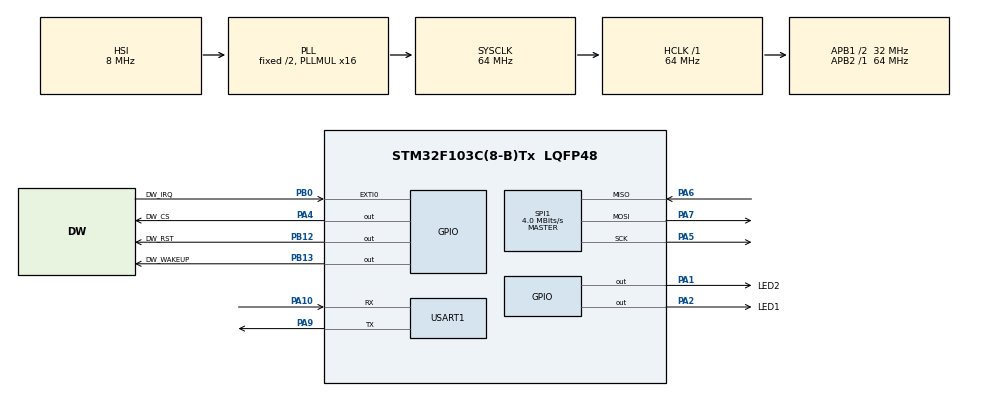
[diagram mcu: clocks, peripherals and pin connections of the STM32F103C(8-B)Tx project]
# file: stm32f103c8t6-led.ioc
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Mcu.Family=STM32F1
Mcu.Name=STM32F103C(8-B)Tx
Mcu.Package=LQFP48
NVIC.PriorityGroup=NVIC_PRIORITYGROUP_4
PA1.GPIO_Label=LED2
PA1.Signal=GPIO_Output
PA10.Mode=Asynchronous
PA10.Signal=USART1_RX
PA13.Mode=Serial_Wire
PA13.Signal=SYS_JTMS-SWDIO
PA14.Mode=Serial_Wire
PA14.Signal=SYS_JTCK-SWCLK
PA2.GPIO_Label=LED1
PA2.Signal=GPIO_Output
PA4.GPIO_Label=DW_CS
PA4.GPIO_Speed=GPIO_SPEED_FREQ_HIGH
PA4.PinState=GPIO_PIN_SET
PA4.Signal=GPIO_Output
PA5.Mode=Full_Duplex_Master
PA5.Signal=SPI1_SCK
PA6.Mode=Full_Duplex_Master
PA6.Signal=SPI1_MISO
PA7.Mode=Full_Duplex_Master
PA7.Signal=SPI1_MOSI
PA9.Mode=Asynchronous
PA9.Signal=USART1_TX
PB0.GPIO_Label=DW_IRQ
PB0.Signal=GPXTI0
PB12.GPIO_Label=DW_RST
PB12.GPIO_PuPd=GPIO_NOPULL
PB12.GPIO_Speed=GPIO_SPEED_FREQ_HIGH
PB12.PinState=GPIO_PIN_SET
PB12.Signal=GPIO_Output
PB13.GPIO_Label=DW_WAKEUP
PB13.GPIO_Speed=GPIO_SPEED_FREQ_HIGH
PB13.Signal=GPIO_Output
PD0-OSC_IN.Mode=HSE-External-Oscillator
PD0-OSC_IN.Signal=RCC_OSC_IN
PD1-OSC_OUT.Mode=HSE-External-Oscillator
PD1-OSC_OUT.Signal=RCC_OSC_OUT
ProjectManager.HeapSize=0x200
ProjectManager.StackSize=0x400
ProjectManager.TargetToolchain=CMake
RCC.AHBFreq_Value=64000000
RCC.APB1CLKDivider=RCC_HCLK_DIV2
RCC.APB1Freq_Value=32000000
RCC.APB1TimFreq_Value=64000000
RCC.APB2Freq_Value=64000000
RCC.APB2TimFreq_Value=64000000
RCC.HCLKFreq_Value=64000000
RCC.PLLMUL=RCC_PLL_MUL16
RCC.SYSCLKFreq_VALUE=64000000
RCC.SYSCLKSource=RCC_SYSCLKSOURCE_PLLCLK
RCC.USBFreq_Value=64000000
SPI1.BaudRatePrescaler=SPI_BAUDRATEPRESCALER_16
SPI1.CalculateBaudRate=4.0 MBits/s
SPI1.Direction=SPI_DIRECTION_2LINES
SPI1.Mode=SPI_MODE_MASTER
SPI1.VirtualType=VM_MASTER
USART1.VirtualMode=VM_ASYNC
board=custom

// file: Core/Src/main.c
/* USER CODE BEGIN Header */
/**
  ******************************************************************************
  * @file           : main.c
  * @brief          : Main program body
  ******************************************************************************
  * @attention
  *
  * Copyright (c) 2026 STMicroelectronics.
  * All rights reserved.
  *
  * This software is licensed under terms that can be found in the LICENSE file
  * in the root directory of this software component.
  * If no LICENSE file comes with this software, it is provided AS-IS.
  *
  ******************************************************************************
  */
/* USER CODE END Header */
#include "main.h"
#include "spi.h"
#include "usart.h"
#include "gpio.h"

/* USER CODE BEGIN Includes */
#include "deca_device_api.h"
#include "deca_regs.h"
#include "port.h"
#include <stdio.h>
#include <string.h>

/* USER CODE END Includes */

/* USER CODE BEGIN PTD */
static dwt_config_t dw1000_test_config = {
  2,
  DWT_PRF_64M,
  DWT_PLEN_1024,
  DWT_PAC32,
  9,
  9,
  1,
  DWT_BR_110K,
  DWT_PHRMODE_STD,
  (1025 + 64 - 32)
};

/* USER CODE END PTD */

/* USER CODE BEGIN PD */
#define FRAME_LEN_MAX 127U
#define RX_FRAME_LEN 12U
#define RX_FRAME_SRC_IDX 2U
#define DATA_FRAME_SN_IDX 2U
#define DATA_FRAME_DEST_IDX 5U

/* USER CODE END PD */

/* USER CODE BEGIN PV */
static volatile uint32_t dw_irq_count = 0;
static uint32_t last_reported_dw_irq_count = 0;
static uint8_t dw1000_rx_ready = 0;
static uint8_t rx_buffer[FRAME_LEN_MAX];
static uint8_t resp_msg[] = {0x41, 0x8C, 0, 0x9A, 0x60, 0, 0, 0, 0, 0, 0, 0, 0, 'D', 'W', 0x10, 0x00, 0, 0, 0, 0};

/* USER CODE END PV */

void SystemClock_Config(void);
/* USER CODE BEGIN PFP */
static void uart_log(const char *msg);
static void dw1000_irq_test_init(void);
static int dw1000_driver_init(void);
static void dw1000_configure_default(void);
static void dw1000_rx_loop(void);
static uint8_t dw1000_frame_is_expected(const uint8_t *frame, uint16_t frame_len);
static void dw1000_prepare_response(const uint8_t *frame);
static void uart_log_frame_hex(const char *prefix, const uint8_t *frame, uint16_t frame_len);

/* USER CODE END PFP */

/* USER CODE BEGIN 0 */
static void uart_log(const char *msg)
{
  HAL_UART_Transmit(&huart1, (uint8_t *)msg, (uint16_t)strlen(msg), HAL_MAX_DELAY);
}

static void uart_log_frame_hex(const char *prefix, const uint8_t *frame, uint16_t frame_len)
{
  char buffer[16];
  uint16_t i;

  uart_log(prefix);
  for (i = 0; i < frame_len; i++)
  {
    snprintf(buffer, sizeof(buffer), "%02X%s", frame[i], (i + 1U < frame_len) ? " " : "\r\n");
    uart_log(buffer);
  }
}

static void dw1000_irq_test_init(void)
{
  GPIO_InitTypeDef GPIO_InitStruct = {0};

  GPIO_InitStruct.Pin = DW_IRQ_Pin;
  GPIO_InitStruct.Mode = GPIO_MODE_IT_RISING;
  GPIO_InitStruct.Pull = GPIO_NOPULL;
  HAL_GPIO_Init(DW_IRQ_GPIO_Port, &GPIO_InitStruct);

  uart_log("[RX-BOARD] DW_IRQ configured for rising-edge EXTI\r\n");
}

static int dw1000_driver_init(void)
{
  char buffer[96];
  int init_status;
  uint32_t device_id;

  uart_log("[RX-BOARD] Resetting DW1000\r\n");
  reset_DW1000();

  uart_log("[RX-BOARD] Setting SPI to slow rate for init\r\n");
  port_set_dw1000_slowrate();

  init_status = dwt_initialise(DWT_LOADNONE);
  snprintf(buffer, sizeof(buffer), "[RX-BOARD] dwt_initialise() = %d\r\n", init_status);
  uart_log(buffer);

  if (init_status == DWT_ERROR)
  {
    uart_log("[RX-BOARD] DW1000 init failed\r\n");
    return DWT_ERROR;
  }

  port_set_dw1000_fastrate();
  device_id = dwt_readdevid();
  snprintf(buffer, sizeof(buffer), "[RX-BOARD] Device ID = 0x%08lX\r\n", device_id);
  uart_log(buffer);

  return DWT_SUCCESS;
}

static void dw1000_configure_default(void)
{
  char buffer[96];

  dwt_configure(&dw1000_test_config);
  snprintf(buffer, sizeof(buffer),
           "[RX-BOARD] Configured: ch=%u prf=%u plen=%u rate=%u\r\n",
           dw1000_test_config.chan,
           dw1000_test_config.prf,
           dw1000_test_config.txPreambLength,
           dw1000_test_config.dataRate);
  uart_log(buffer);
}

static uint8_t dw1000_frame_is_expected(const uint8_t *frame, uint16_t frame_len)
{
  (void)frame;
  return (uint8_t)(frame_len == RX_FRAME_LEN);
}

static void dw1000_prepare_response(const uint8_t *frame)
{
  uint32_t i;

  for (i = 0; i < 8U; i++)
  {
    resp_msg[DATA_FRAME_DEST_IDX + i] = frame[RX_FRAME_SRC_IDX + i];
  }
}

static void dw1000_rx_loop(void)
{
  uint32_t status_reg;
  uint16_t frame_len;
  char buffer[96];

  dwt_rxenable(DWT_START_RX_IMMEDIATE);

  while (!((status_reg = dwt_read32bitreg(SYS_STATUS_ID)) & (SYS_STATUS_RXFCG | SYS_STATUS_ALL_RX_ERR)))
  {
  }

  if (status_reg & SYS_STATUS_RXFCG)
  {
    memset(rx_buffer, 0, sizeof(rx_buffer));
    frame_len = (uint16_t)(dwt_read32bitreg(RX_FINFO_ID) & RX_FINFO_RXFL_MASK_1023);
    if (frame_len <= FRAME_LEN_MAX)
    {
      dwt_readrxdata(rx_buffer, frame_len, 0);
    }

    dwt_write32bitreg(SYS_STATUS_ID, SYS_STATUS_RXFCG);

    if ((frame_len <= FRAME_LEN_MAX) && dw1000_frame_is_expected(rx_buffer, frame_len))
    {
      uart_log_frame_hex("[RX-BOARD] RX data: ", rx_buffer, frame_len);
      dw1000_prepare_response(rx_buffer);
      dwt_writetxdata(sizeof(resp_msg), resp_msg, 0);
      dwt_writetxfctrl(sizeof(resp_msg), 0, 0);

      if (dwt_starttx(DWT_START_TX_IMMEDIATE) == DWT_ERROR)
      {
        uart_log("[RX-BOARD] dwt_starttx() returned error\r\n");
        return;
      }

      while (!(dwt_read32bitreg(SYS_STATUS_ID) & SYS_STATUS_TXFRS))
      {
      }

      dwt_write32bitreg(SYS_STATUS_ID, SYS_STATUS_TXFRS);
      resp_msg[DATA_FRAME_SN_IDX]++;

      snprintf(buffer, sizeof(buffer), "[RX-BOARD] RX ok, response sent, seq=%u\r\n", resp_msg[DATA_FRAME_SN_IDX]);
      uart_log(buffer);
    }
    else
    {
      snprintf(buffer, sizeof(buffer), "[RX-BOARD] RX ignored, len=%u\r\n", frame_len);
      uart_log(buffer);
      if (frame_len <= FRAME_LEN_MAX)
      {
        uart_log_frame_hex("[RX-BOARD] Ignored data: ", rx_buffer, frame_len);
      }
    }
  }
  else
  {
    dwt_write32bitreg(SYS_STATUS_ID, SYS_STATUS_ALL_RX_ERR);
    uart_log("[RX-BOARD] RX error detected, status cleared\r\n");
  }
}

/* USER CODE END 0 */

int main(void)
{

  /* MCU Configuration--------------------------------------------------------*/

  /* Reset of all peripherals, Initializes the Flash interface and the Systick. */
  HAL_Init();

  /* Configure the system clock */
  SystemClock_Config();

  /* Initialize all configured peripherals */
  MX_GPIO_Init();
  MX_SPI1_Init();
  MX_USART1_UART_Init();
  /* USER CODE BEGIN 2 */
  HAL_NVIC_SetPriority(EXTI0_IRQn, 2, 0);
  HAL_NVIC_EnableIRQ(EXTI0_IRQn);

  HAL_GPIO_WritePin(LED1_GPIO_Port, LED1_Pin, GPIO_PIN_SET);
  HAL_GPIO_WritePin(LED2_GPIO_Port, LED2_Pin, GPIO_PIN_RESET);
  dw1000_irq_test_init();
  if (dw1000_driver_init() == DWT_SUCCESS)
  {
    dw1000_configure_default();
    dw1000_rx_ready = 1;
    uart_log("[RX-BOARD] Entering receive/respond loop\r\n");
  }
  else
  {
    uart_log("[RX-BOARD] Stopping due to init failure\r\n");
  }

  /* USER CODE END 2 */

  /* Infinite loop */
  while (1)
  {

    /* USER CODE BEGIN 3 */
    if (dw_irq_count != last_reported_dw_irq_count)
    {
      char buffer[64];
      last_reported_dw_irq_count = dw_irq_count;
      snprintf(buffer, sizeof(buffer), "[RX-BOARD] IRQ count=%lu\r\n", last_reported_dw_irq_count);
      uart_log(buffer);

      HAL_GPIO_TogglePin(LED1_GPIO_Port, LED1_Pin);
      HAL_GPIO_TogglePin(LED2_GPIO_Port, LED2_Pin);
    }
    if (dw1000_rx_ready)
    {
      dw1000_rx_loop();
    }
    else
    {
      HAL_Delay(200);
    }
  }
  /* USER CODE END 3 */
}

void SystemClock_Config(void)
{
  RCC_OscInitTypeDef RCC_OscInitStruct = {0};
  RCC_ClkInitTypeDef RCC_ClkInitStruct = {0};

  /** Initializes the RCC Oscillators according to the specified parameters
  * in the RCC_OscInitTypeDef structure.
  */
  RCC_OscInitStruct.OscillatorType = RCC_OSCILLATORTYPE_HSI;
  RCC_OscInitStruct.HSIState = RCC_HSI_ON;
  RCC_OscInitStruct.HSICalibrationValue = RCC_HSICALIBRATION_DEFAULT;
  RCC_OscInitStruct.PLL.PLLState = RCC_PLL_ON;
  RCC_OscInitStruct.PLL.PLLSource = RCC_PLLSOURCE_HSI_DIV2;
  RCC_OscInitStruct.PLL.PLLMUL = RCC_PLL_MUL16;
  if (HAL_RCC_OscConfig(&RCC_OscInitStruct) != HAL_OK)
  {
    Error_Handler();
  }

  /** Initializes the CPU, AHB and APB buses clocks
  */
  RCC_ClkInitStruct.ClockType = RCC_CLOCKTYPE_HCLK|RCC_CLOCKTYPE_SYSCLK
                              |RCC_CLOCKTYPE_PCLK1|RCC_CLOCKTYPE_PCLK2;
  RCC_ClkInitStruct.SYSCLKSource = RCC_SYSCLKSOURCE_PLLCLK;
  RCC_ClkInitStruct.AHBCLKDivider = RCC_SYSCLK_DIV1;
  RCC_ClkInitStruct.APB1CLKDivider = RCC_HCLK_DIV2;
  RCC_ClkInitStruct.APB2CLKDivider = RCC_HCLK_DIV1;

  if (HAL_RCC_ClockConfig(&RCC_ClkInitStruct, FLASH_LATENCY_2) != HAL_OK)
  {
    Error_Handler();
  }
}

/* USER CODE BEGIN 4 */
void HAL_GPIO_EXTI_Callback(uint16_t GPIO_Pin)
{
  if (GPIO_Pin == DW_IRQ_Pin)
  {
    dw_irq_count++;
  }
}

/* USER CODE END 4 */

void Error_Handler(void)
{
  __disable_irq();
  while (1)
  {
  }
}
